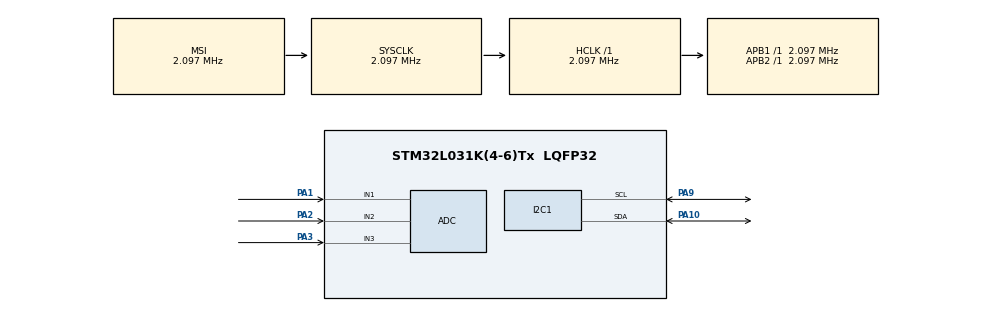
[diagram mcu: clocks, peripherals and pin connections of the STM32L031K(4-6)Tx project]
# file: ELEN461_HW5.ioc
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ADC.SamplingTime=ADC_SAMPLETIME_3CYCLES_5
Dma.ADC.0.Direction=DMA_PERIPH_TO_MEMORY
Dma.ADC.0.Instance=DMA1_Channel1
Dma.ADC.0.MemDataAlignment=DMA_MDATAALIGN_HALFWORD
Dma.ADC.0.MemInc=DMA_MINC_ENABLE
Dma.ADC.0.Mode=DMA_CIRCULAR
Dma.ADC.0.PeriphDataAlignment=DMA_PDATAALIGN_HALFWORD
Dma.ADC.0.PeriphInc=DMA_PINC_DISABLE
Dma.ADC.0.Priority=DMA_PRIORITY_LOW
Dma.Request0=ADC
Mcu.Family=STM32L0
Mcu.Name=STM32L031K(4-6)Tx
Mcu.Package=LQFP32
NVIC.DMA1_Channel1_IRQn=true\:0\:0\:false\:false\:true\:false\:true
PA1.Mode=IN1
PA1.Signal=ADC_IN1
PA10.Mode=I2C
PA10.Signal=I2C1_SDA
PA2.Mode=IN2
PA2.Signal=ADC_IN2
PA3.Mode=IN3
PA3.Signal=ADC_IN3
PA9.Mode=I2C
PA9.Signal=I2C1_SCL
ProjectManager.HeapSize=0x200
ProjectManager.StackSize=0x400
ProjectManager.TargetToolchain=EWARM V8.32
RCC.AHBFreq_Value=2097000
RCC.APB1Freq_Value=2097000
RCC.APB1TimFreq_Value=2097000
RCC.APB2Freq_Value=2097000
RCC.APB2TimFreq_Value=2097000
RCC.HSE_VALUE=8000000
RCC.HSI16_VALUE=16000000
RCC.HSI_VALUE=16000000
RCC.LSE_VALUE=32768
RCC.MSI_VALUE=2097000
RCC.SYSCLKFreq_VALUE=2097000
RCC.VCOOutputFreq_Value=48000000
board=custom

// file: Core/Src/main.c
/* USER CODE BEGIN Header */
/**
  ******************************************************************************
  * @file           : main.c
  * @brief          : Main program body
  ******************************************************************************
  * @attention
  *
  * <h2><center>&copy; Copyright (c) 2022 STMicroelectronics.
  * All rights reserved.</center></h2>
  *
  * This software component is licensed by ST under BSD 3-Clause license,
  * the "License"; You may not use this file except in compliance with the
  * License. You may obtain a copy of the License at:
  *                        opensource.org/licenses/BSD-3-Clause
  *
  ******************************************************************************
  */
/* USER CODE END Header */
#include "main.h"

/* USER CODE BEGIN Includes */
#include "fonts.h"
#include "ssd1306.h"
#include "ux_manager.h"
/* USER CODE END Includes */

/* USER CODE BEGIN PD */
#define ADC_BUFFER_SIZE         100
#define ADC_INDEX_TEMP          2
#define ADC_INDEX_TARGET        0
#define ADC_INDEX_CONTROL       1
#define ADC_TARGET_BUFFER_SIZE  50
#define ADC_CONTROL_BUFFER_SIZE 50
/* USER CODE END PD */

ADC_HandleTypeDef hadc;
DMA_HandleTypeDef hdma_adc;

I2C_HandleTypeDef hi2c1;

/* USER CODE BEGIN PV */
// Scheduler Variables
extern uint8_t ten_mS_Flag;
extern uint8_t twentyfive_mS_Flag;
extern uint8_t hundred_mS_Flag;
extern uint8_t one_S_Flag;
extern uint8_t five_hundred_mS_Flag;

// ADC Variables
const uint8_t gain = 2;
uint16_t adcValue[3];
uint16_t adcBuffer[ADC_BUFFER_SIZE];
uint16_t adcAvg;
uint16_t targetBuffer[ADC_TARGET_BUFFER_SIZE];
uint16_t targetAvg;
uint16_t controlBuffer[ADC_CONTROL_BUFFER_SIZE];
uint16_t controlAvgCounts;
float tempInC;
float tempF;
float voltageInmV;

float tempThreshLowF;
float tempDesired;
float tempThreshHighF;

// Display Varaibles
DWfloat temperature = {"%4.1f ", "----", 0, 0, true, 25.0};
DWfloat tempThreshLow = {"%4.1f ", "----", 0, 0, true, 25.0};
DWfloat tempThreshMid = {"%4.1f ", "----", 0, 0, true, 25.0};
DWfloat tempThreshHigh = {"%4.1f ", "----", 0, 0, true, 25.0};
DWstring units = {"%s", "----", 0, 0, true, "DegC"};
uint8_t unitChoices[2][5] = {"DegF", "DegC"};

/* USER CODE END PV */

void SystemClock_Config(void);
static void MX_GPIO_Init(void);
static void MX_DMA_Init(void);
static void MX_ADC_Init(void);
static void MX_I2C1_Init(void);
/* USER CODE BEGIN PFP */
void Update_TempC(void);
void Update_ADCBuff(uint16_t value);
float Calc_Temp_Target(uint16_t adcCounts);
void Update_Target_Avg(void);
void Update_Target_Buff(uint16_t value);
void Update_Control_Buff(uint16_t value);
void Update_Control_Avg(void);
/* USER CODE END PFP */

int main(void)
{

  /* MCU Configuration--------------------------------------------------------*/

  /* Reset of all peripherals, Initializes the Flash interface and the Systick. */
  HAL_Init();

  /* Configure the system clock */
  SystemClock_Config();

  /* Initialize all configured peripherals */
  MX_GPIO_Init();
  MX_DMA_Init();
  MX_ADC_Init();
  MX_I2C1_Init();
  /* USER CODE BEGIN 2 */

  SSD1306_Init();  // initialise

  adcBuffer[0] = 0;
  adcBuffer[1] = 0;

  // Splash Screen
  SSD1306_Clear();
  SSD1306_GotoXY (0,0);
  SSD1306_Puts ("Welcome to", &Font_11x18, SSD1306_COLOR_WHITE);
  SSD1306_GotoXY (0,20);
  SSD1306_Puts ("The Thermal", &Font_11x18, SSD1306_COLOR_WHITE);
  SSD1306_GotoXY (0,40);
  SSD1306_Puts ("Chamber!", &Font_11x18, SSD1306_COLOR_WHITE);
  SSD1306_UpdateScreen();

  HAL_Delay (3000);

  SwitchScreens(HOME);

  /* USER CODE END 2 */

  /* Infinite loop */
  /* USER CODE BEGIN WHILE */
  while (1)
  {

    // 10 ms scheduler
    if(ten_mS_Flag) {
      ten_mS_Flag = false;

      // Update Threshold buffers
      Update_Target_Buff(adcValue[ADC_INDEX_TARGET]);
      Update_Control_Buff(adcValue[ADC_INDEX_CONTROL]);
    }

    // 25 ms scheduler
    if(twentyfive_mS_Flag) {
      twentyfive_mS_Flag = false;

    }

    // 100 ms scheduler

    if(hundred_mS_Flag) {
      hundred_mS_Flag = false;

      // Update Temp value in C
      Update_TempC();

      // convert temp to F
      tempF = tempInC*(9.0/5.0) + 32.0;
      temperature.data = tempF;
    }

    // 500 ms scheduler
    if(five_hundred_mS_Flag){
      five_hundred_mS_Flag = false;

      // Change units to F
      units.data[3] = 'F';

      // Update threshold values
      Update_Target_Avg();
      tempDesired = Calc_Temp_Target(targetAvg);
      tempThreshMid.data = tempDesired;

      Update_Control_Avg();

      // Update display;
      UpdateScreenValues();
    }

    // 1 second scheduler
    if(one_S_Flag) {
      one_S_Flag = false;

    }

    // Every loop

    // Read ADC and update buffer
      HAL_ADC_Start_DMA(&hadc, (uint32_t *) adcValue, 3);
      Update_ADCBuff(adcValue[ADC_INDEX_TEMP]);

    /* USER CODE END WHILE */

  }
}

void SystemClock_Config(void)
{
  RCC_OscInitTypeDef RCC_OscInitStruct = {0};
  RCC_ClkInitTypeDef RCC_ClkInitStruct = {0};
  RCC_PeriphCLKInitTypeDef PeriphClkInit = {0};

  /** Configure the main internal regulator output voltage
  */
  __HAL_PWR_VOLTAGESCALING_CONFIG(PWR_REGULATOR_VOLTAGE_SCALE1);
  /** Initializes the RCC Oscillators according to the specified parameters
  * in the RCC_OscInitTypeDef structure.
  */
  RCC_OscInitStruct.OscillatorType = RCC_OSCILLATORTYPE_MSI;
  RCC_OscInitStruct.MSIState = RCC_MSI_ON;
  RCC_OscInitStruct.MSICalibrationValue = 0;
  RCC_OscInitStruct.MSIClockRange = RCC_MSIRANGE_5;
  RCC_OscInitStruct.PLL.PLLState = RCC_PLL_NONE;
  if (HAL_RCC_OscConfig(&RCC_OscInitStruct) != HAL_OK)
  {
    Error_Handler();
  }
  /** Initializes the CPU, AHB and APB buses clocks
  */
  RCC_ClkInitStruct.ClockType = RCC_CLOCKTYPE_HCLK|RCC_CLOCKTYPE_SYSCLK
                              |RCC_CLOCKTYPE_PCLK1|RCC_CLOCKTYPE_PCLK2;
  RCC_ClkInitStruct.SYSCLKSource = RCC_SYSCLKSOURCE_MSI;
  RCC_ClkInitStruct.AHBCLKDivider = RCC_SYSCLK_DIV1;
  RCC_ClkInitStruct.APB1CLKDivider = RCC_HCLK_DIV1;
  RCC_ClkInitStruct.APB2CLKDivider = RCC_HCLK_DIV1;

  if (HAL_RCC_ClockConfig(&RCC_ClkInitStruct, FLASH_LATENCY_0) != HAL_OK)
  {
    Error_Handler();
  }
  PeriphClkInit.PeriphClockSelection = RCC_PERIPHCLK_I2C1;
  PeriphClkInit.I2c1ClockSelection = RCC_I2C1CLKSOURCE_PCLK1;
  if (HAL_RCCEx_PeriphCLKConfig(&PeriphClkInit) != HAL_OK)
  {
    Error_Handler();
  }
}

static void MX_ADC_Init(void)
{

  ADC_ChannelConfTypeDef sConfig = {0};

  /** Configure the global features of the ADC (Clock, Resolution, Data Alignment and number of conversion)
  */
  hadc.Instance = ADC1;
  hadc.Init.OversamplingMode = DISABLE;
  hadc.Init.ClockPrescaler = ADC_CLOCK_SYNC_PCLK_DIV1;
  hadc.Init.Resolution = ADC_RESOLUTION_12B;
  hadc.Init.SamplingTime = ADC_SAMPLETIME_3CYCLES_5;
  hadc.Init.ScanConvMode = ADC_SCAN_DIRECTION_FORWARD;
  hadc.Init.DataAlign = ADC_DATAALIGN_RIGHT;
  hadc.Init.ContinuousConvMode = DISABLE;
  hadc.Init.DiscontinuousConvMode = DISABLE;
  hadc.Init.ExternalTrigConvEdge = ADC_EXTERNALTRIGCONVEDGE_NONE;
  hadc.Init.ExternalTrigConv = ADC_SOFTWARE_START;
  hadc.Init.DMAContinuousRequests = DISABLE;
  hadc.Init.EOCSelection = ADC_EOC_SINGLE_CONV;
  hadc.Init.Overrun = ADC_OVR_DATA_PRESERVED;
  hadc.Init.LowPowerAutoWait = DISABLE;
  hadc.Init.LowPowerFrequencyMode = ENABLE;
  hadc.Init.LowPowerAutoPowerOff = DISABLE;
  if (HAL_ADC_Init(&hadc) != HAL_OK)
  {
    Error_Handler();
  }
  /** Configure for the selected ADC regular channel to be converted.
  */
  sConfig.Channel = ADC_CHANNEL_1;
  sConfig.Rank = ADC_RANK_CHANNEL_NUMBER;
  if (HAL_ADC_ConfigChannel(&hadc, &sConfig) != HAL_OK)
  {
    Error_Handler();
  }
  /** Configure for the selected ADC regular channel to be converted.
  */
  sConfig.Channel = ADC_CHANNEL_2;
  if (HAL_ADC_ConfigChannel(&hadc, &sConfig) != HAL_OK)
  {
    Error_Handler();
  }
  /** Configure for the selected ADC regular channel to be converted.
  */
  sConfig.Channel = ADC_CHANNEL_3;
  if (HAL_ADC_ConfigChannel(&hadc, &sConfig) != HAL_OK)
  {
    Error_Handler();
  }

}

static void MX_I2C1_Init(void)
{

  hi2c1.Instance = I2C1;
  hi2c1.Init.Timing = 0x00000708;
  hi2c1.Init.OwnAddress1 = 0;
  hi2c1.Init.AddressingMode = I2C_ADDRESSINGMODE_7BIT;
  hi2c1.Init.DualAddressMode = I2C_DUALADDRESS_DISABLE;
  hi2c1.Init.OwnAddress2 = 0;
  hi2c1.Init.OwnAddress2Masks = I2C_OA2_NOMASK;
  hi2c1.Init.GeneralCallMode = I2C_GENERALCALL_DISABLE;
  hi2c1.Init.NoStretchMode = I2C_NOSTRETCH_DISABLE;
  if (HAL_I2C_Init(&hi2c1) != HAL_OK)
  {
    Error_Handler();
  }
  /** Configure Analogue filter
  */
  if (HAL_I2CEx_ConfigAnalogFilter(&hi2c1, I2C_ANALOGFILTER_ENABLE) != HAL_OK)
  {
    Error_Handler();
  }
  /** Configure Digital filter
  */
  if (HAL_I2CEx_ConfigDigitalFilter(&hi2c1, 0) != HAL_OK)
  {
    Error_Handler();
  }

}

static void MX_DMA_Init(void)
{

  /* DMA controller clock enable */
  __HAL_RCC_DMA1_CLK_ENABLE();

  /* DMA interrupt init */
  /* DMA1_Channel1_IRQn interrupt configuration */
  HAL_NVIC_SetPriority(DMA1_Channel1_IRQn, 0, 0);
  HAL_NVIC_EnableIRQ(DMA1_Channel1_IRQn);

}

static void MX_GPIO_Init(void)
{

  /* GPIO Ports Clock Enable */
  __HAL_RCC_GPIOA_CLK_ENABLE();

}

/* USER CODE BEGIN 4 */
void Update_ADCBuff(uint16_t value){

  // Shift values of the buffer
  for(uint8_t i = 1; i < ADC_BUFFER_SIZE; i++) {
    adcBuffer[i-1] = adcBuffer[i];
  }

  // Place new value at end of ADC buffer;
  adcBuffer[ADC_BUFFER_SIZE-1] = value;
}

void Update_TempC(void) {
  uint32_t temp;
  for(uint8_t i = 0; i < ADC_BUFFER_SIZE; i++) {
    temp += adcBuffer[i];
  }
  adcAvg = temp / ADC_BUFFER_SIZE;
  if(adcAvg>35) {adcAvg -= 35;}

  voltageInmV = (adcAvg/4096.0)*3300.0;

  // Based on 0C-100C range
  tempInC = (voltageInmV-1567.0)/(-8.2);

}

// 1520 counts is about 42C and is the lower end of the voltage range
// 1815 counts is about 13C and is the higher end of the voltage range
// The range of counts is 1815-1520 = 295 counts
// Range of temp in F is 52.2F

float Calc_Temp_Target(uint16_t adcCounts) {
  uint16_t temp = adcCounts;
  if(adcCounts > 25) {temp -= 25;}
  return 107.6-(((temp-1520.0)/295.0)*52.2);
}

void Update_Target_Buff(uint16_t value){

  // Shift values of the buffer
  for(uint8_t i = 1; i < ADC_TARGET_BUFFER_SIZE; i++) {
    targetBuffer[i-1] = targetBuffer[i];
  }

  // Place new value at end of buffer;
  targetBuffer[ADC_TARGET_BUFFER_SIZE-1] = value;
}

void Update_Target_Avg(void) {
  uint32_t temp = 0;
  for(uint8_t i = 0; i < ADC_TARGET_BUFFER_SIZE; i++) {
    temp += targetBuffer[i];
  }
  targetAvg = temp / ADC_TARGET_BUFFER_SIZE;
}

void Update_Control_Buff(uint16_t value){

  // Shift values of the buffer
  for(uint8_t i = 1; i < ADC_CONTROL_BUFFER_SIZE; i++) {
    controlBuffer[i-1] = controlBuffer[i];
  }

  // Place new value at end of buffer;
  controlBuffer[ADC_CONTROL_BUFFER_SIZE-1] = value;
}

void Update_Control_Avg(void) {
  uint32_t temp = 0;
  for(uint8_t i = 0; i < ADC_CONTROL_BUFFER_SIZE; i++) {
    temp += controlBuffer[i];
  }
  controlAvgCounts = (temp / ADC_CONTROL_BUFFER_SIZE);
}

/* USER CODE END 4 */

void Error_Handler(void)
{
  __disable_irq();
  while (1)
  {
  }
}

/************************ (C) COPYRIGHT STMicroelectronics *****END OF FILE****/
